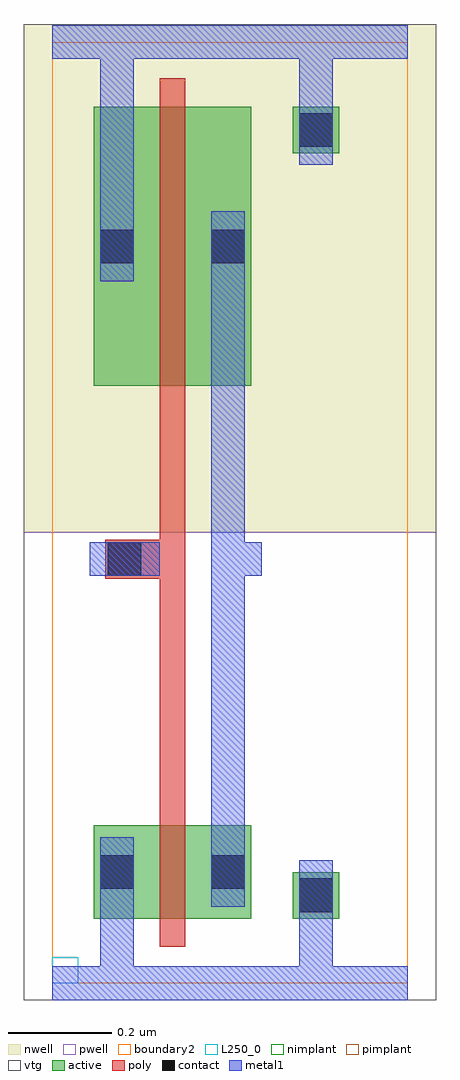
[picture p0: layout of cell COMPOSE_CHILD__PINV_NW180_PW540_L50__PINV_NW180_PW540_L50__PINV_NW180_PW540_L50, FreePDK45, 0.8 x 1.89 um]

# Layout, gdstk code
import gdstk
lib = gdstk.Library(unit=1e-6, precision=5e-10)
def R(c, l, rs):  # rectangles x0, y0, x1, y1
    for r in rs: c.add(gdstk.rectangle(r[:2], r[2:], *l))
active = (1, 0)
pwell = (2, 0)
nwell = (3, 0)
nimplant = (4, 0)
pimplant = (5, 0)
vtg = (6, 0)
poly = (9, 0)
contact = (10, 0)
metal1 = (11, 0)
boundary2 = (239, 0)
L250_0 = (250, 0)

compose_child__pinv_nw18 = lib.new_cell('COMPOSE_CHILD__PINV_NW180_PW540_L50__PINV_NW180_PW540_L50__TRANSMISSION_GATE_NW250_PW500_L50_contact_8')
R(compose_child__pinv_nw18, active, [(0,0.0225,0.09,0.1125)])
R(compose_child__pinv_nw18, nwell, [(-0.055,-0.0325,0.145,0.1675)])
R(compose_child__pinv_nw18, pimplant, [(0,0.0225,0.09,0.1125)])
R(compose_child__pinv_nw18, contact, [(0.0125,0.035,0.0775,0.1)])
R(compose_child__pinv_nw18, metal1, [(0.0125,0,0.0775,0.135)])
R(compose_child__pinv_nw18, boundary2, [(-0.055,-0.0325,0.145,0.1675)])

c_compose_child__pinv_nw18 = lib.new_cell('COMPOSE_CHILD__PINV_NW180_PW540_L50__PINV_NW180_PW540_L50__PINV_NW180_PW540_L50_pmos_m1_w0_540_sm1_dm1_da_p')
R(c_compose_child__pinv_nw18, active, [(0,0,0.305,0.54)])
R(c_compose_child__pinv_nw18, nwell, [(-0.08,-0.08,0.385,0.62)])
R(c_compose_child__pinv_nw18, pimplant, [(0,0,0.305,0.54)])
R(c_compose_child__pinv_nw18, vtg, [(-0.08,-0.08,0.385,0.62)])
R(c_compose_child__pinv_nw18, poly, [(0.1275,-0.055,0.1775,0.595), (0.1275,-0.055,0.1775,0.595)])
R(c_compose_child__pinv_nw18, metal1, [(0.0125,0.2025,0.0775,0.3375), (0.2275,0.2025,0.2925,0.3375)])
R(c_compose_child__pinv_nw18, boundary2, [(-0.08,-0.08,0.385,0.62)])
c_compose_child__pinv_nw18.add(gdstk.Reference(compose_child__pinv_nw18, (0,0.2025)))
c_compose_child__pinv_nw18.add(gdstk.Reference(compose_child__pinv_nw18, (0.215,0.2025)))

c_compose_child__pinv_nw18_ = lib.new_cell('COMPOSE_CHILD__PINV_NW180_PW540_L50__PINV_NW180_PW540_L50__TRANSMISSION_GATE_NW250_PW500_L50_contact_7')
R(c_compose_child__pinv_nw18_, active, [(0,0.0225,0.09,0.1125)])
R(c_compose_child__pinv_nw18_, pwell, [(-0.055,-0.0325,0.145,0.1675)])
R(c_compose_child__pinv_nw18_, nimplant, [(0,0.0225,0.09,0.1125)])
R(c_compose_child__pinv_nw18_, contact, [(0.0125,0.035,0.0775,0.1)])
R(c_compose_child__pinv_nw18_, metal1, [(0.0125,0,0.0775,0.135)])
R(c_compose_child__pinv_nw18_, boundary2, [(-0.055,-0.0325,0.145,0.1675)])

c_compose_child__pinv_nw18__ = lib.new_cell('COMPOSE_CHILD__PINV_NW180_PW540_L50__PINV_NW180_PW540_L50__PINV_NW180_PW270_L50_nmos_m1_w0_180_sm1_dm1_da_p')
R(c_compose_child__pinv_nw18__, active, [(0,0,0.305,0.18)])
R(c_compose_child__pinv_nw18__, pwell, [(-0.08,-0.08,0.385,0.26)])
R(c_compose_child__pinv_nw18__, nimplant, [(0,0,0.305,0.18)])
R(c_compose_child__pinv_nw18__, vtg, [(-0.08,-0.08,0.385,0.26)])
R(c_compose_child__pinv_nw18__, poly, [(0.1275,-0.055,0.1775,0.235), (0.1275,-0.055,0.1775,0.235)])
R(c_compose_child__pinv_nw18__, metal1, [(0.0125,0.0225,0.0775,0.1575), (0.2275,0.0225,0.2925,0.1575)])
R(c_compose_child__pinv_nw18__, boundary2, [(-0.08,-0.08,0.385,0.26)])
c_compose_child__pinv_nw18__.add(gdstk.Reference(c_compose_child__pinv_nw18_, (0,0.0225)))
c_compose_child__pinv_nw18__.add(gdstk.Reference(c_compose_child__pinv_nw18_, (0.215,0.0225)))

c_compose_child__pinv_nw18___ = lib.new_cell('COMPOSE_CHILD__PINV_NW180_PW540_L50__PINV_NW180_PW540_L50__TRANSMISSION_GATE_NW250_PW500_L50_contact_9')
R(c_compose_child__pinv_nw18___, active, [(0,0.0225,0.09,0.1125)])
R(c_compose_child__pinv_nw18___, nwell, [(-0.055,-0.0325,0.145,0.1675)])
R(c_compose_child__pinv_nw18___, nimplant, [(0,0.0225,0.09,0.1125)])
R(c_compose_child__pinv_nw18___, contact, [(0.0125,0.035,0.0775,0.1)])
R(c_compose_child__pinv_nw18___, metal1, [(0.0125,0,0.0775,0.135)])
R(c_compose_child__pinv_nw18___, boundary2, [(-0.055,-0.0325,0.145,0.1675)])

c_compose_child__pinv_nw18____ = lib.new_cell('COMPOSE_CHILD__PINV_NW180_PW540_L50__PINV_NW180_PW540_L50__TRANSMISSION_GATE_NW250_PW500_L50_contact_10')
R(c_compose_child__pinv_nw18____, active, [(0,0.0225,0.09,0.1125)])
R(c_compose_child__pinv_nw18____, pwell, [(-0.055,-0.0325,0.145,0.1675)])
R(c_compose_child__pinv_nw18____, pimplant, [(0,0.0225,0.09,0.1125)])
R(c_compose_child__pinv_nw18____, contact, [(0.0125,0.035,0.0775,0.1)])
R(c_compose_child__pinv_nw18____, metal1, [(0.0125,0,0.0775,0.135)])
R(c_compose_child__pinv_nw18____, boundary2, [(-0.055,-0.0325,0.145,0.1675)])

c_compose_child__pinv_nw18_____ = lib.new_cell('COMPOSE_CHILD__PINV_NW180_PW540_L50__PINV_NW180_PW540_L50__PINV_NW180_PW270_L50_contact_11')
R(c_compose_child__pinv_nw18_____, poly, [(0.03,0,0.105,0.075)])
R(c_compose_child__pinv_nw18_____, contact, [(0.035,0.005,0.1,0.07)])
R(c_compose_child__pinv_nw18_____, metal1, [(0,0.005,0.135,0.07)])
R(c_compose_child__pinv_nw18_____, boundary2, [(0,0,0.135,0.075)])

c_compose_child__pinv_nw18______ = lib.new_cell('COMPOSE_CHILD__PINV_NW180_PW540_L50__PINV_NW180_PW540_L50__PINV_NW180_PW540_L50_core')
R(c_compose_child__pinv_nw18______, pwell, [(-0.055,-0.0325,0.7425,0.8725)])
R(c_compose_child__pinv_nw18______, nwell, [(-0.055,0.8725,0.7425,1.855)])
R(c_compose_child__pinv_nw18______, vtg, [(-0.055,-0.0325,0.7425,0.8725), (-0.055,0.8725,0.7425,1.855)])
R(c_compose_child__pinv_nw18______, poly, [(0.2075,0.36,0.2575,1.1), (0.14,0.7825,0.2075,0.8575)])
R(c_compose_child__pinv_nw18______, metal1, [(0,-0.0325,0.6875,0.0325), (0.0925,-0.0325,0.1575,0.1475), (0.4775,0,0.5425,0.17), (0.3075,0.1475,0.3725,1.4925), (0.0725,0.7875,0.2075,0.8525), (0.34,0.7875,0.405,0.8525), (0.0925,1.3575,0.1575,1.8525), (0.4775,1.65,0.5425,1.82), (0,1.7875,0.6875,1.8525)])
R(c_compose_child__pinv_nw18______, boundary2, [(0,0,0.6875,1.82), (0,0,0.6875,1.82)])
c_compose_child__pinv_nw18______.add(gdstk.Reference(c_compose_child__pinv_nw18, (0.08,1.155)))
c_compose_child__pinv_nw18______.add(gdstk.Reference(c_compose_child__pinv_nw18__, (0.08,0.125)))
c_compose_child__pinv_nw18______.add(gdstk.Reference(c_compose_child__pinv_nw18___, (0.465,1.5825)))
c_compose_child__pinv_nw18______.add(gdstk.Reference(c_compose_child__pinv_nw18____, (0.465,0.1025)))
c_compose_child__pinv_nw18______.add(gdstk.Reference(c_compose_child__pinv_nw18_____, (0.0725,0.7825)))

c_compose_child__pinv_nw18_______ = lib.new_cell('COMPOSE_CHILD__PINV_NW180_PW540_L50__PINV_NW180_PW540_L50__PINV_NW180_PW540_L50')
R(c_compose_child__pinv_nw18_______, metal1, [(0,-0.0325,0.6875,0.0325), (0.0725,0.7875,0.2075,0.8525), (0.34,0.7875,0.405,0.8525), (0,1.7875,0.6875,1.8525)])
R(c_compose_child__pinv_nw18_______, boundary2, [(0,0,0.6875,1.82)])
R(c_compose_child__pinv_nw18_______, L250_0, [(0,0,0.05,0.05)])
c_compose_child__pinv_nw18_______.add(gdstk.Reference(c_compose_child__pinv_nw18______, (0,0)))

lib.write_gds('COMPOSE_CHILD__PINV_NW180_PW540_L50__PINV_NW180_PW540_L50__PINV_NW180_PW540_L50.gds')
